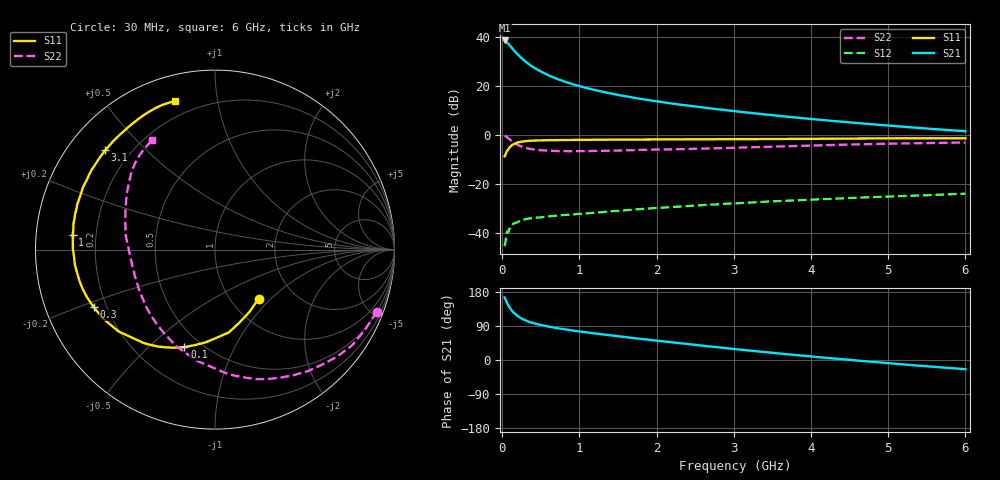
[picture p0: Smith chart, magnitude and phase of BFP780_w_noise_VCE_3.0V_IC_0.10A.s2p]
! Infineon Technologies  Discrete & RF Semiconductors
! BFP780
! VCE =  3.0 V,  IC = 0.10 A
! Common Emitter S-Parameters:  Jul 2015
# GHz  S  MA  R  50
!  f  S11  S21  S12  S22
! GHz  MAG  ANG  MAG  ANG  MAG  ANG  MAG  ANG
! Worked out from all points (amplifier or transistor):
!   75 points, 30 MHz to 6 GHz, reference 50 ohm
!   highest |S21| = 38.6 dB at 30 MHz (marker M1)
!   |S21| within 3 dB of that: start of sweep to 122.4 MHz
!   unconditionally stable (mu >= 1): 1.699 GHz to end of sweep
!   at 150 MHz: K = 0.17, MSG = 35.3 dB, |S12| = -36.1 dB
!   at 2.3 GHz: K = 1.12, MAG = 18.7 dB, |S12| = -29.2 dB
!   at 6 GHz: K = 1.26, MAG = 9.7 dB, |S12| = -23.9 dB
!   lowest NFmin = 2.08 dB at 450 MHz
!   S11 on the Smith chart (normalised r, x): 30 MHz: 1.33, -0.84; 100 MHz: 0.41, -0.65; 300 MHz: 0.15, -0.22; 1 GHz: 0.11, +0.05; 3.1 GHz: 0.11, +0.38; 6 GHz: 0.12, +0.76
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0.03  0.3659 -48.5  84.87 165.2  0.0054 80.5  0.9658 -21.0
0.05  0.4297 -71.7  80.44 155.5  0.0083 68.5  0.9319 -34.8
0.06  0.4678 -80.5  77.84 151.4  0.0107 67.6  0.9055 -41.1
0.08  0.5186 -95.6  72.11 143.5  0.0104 57.1  0.8532 -52.4
0.1  0.5688 -107.4  66.22 137.0  0.0126 50.2  0.8023 -62.7
0.12  0.61 -116.8  60.7 131.3  0.0142 46.8  0.7582 -72.1
0.14  0.6417 -124.3  55.67 126.5  0.0155 44.1  0.715 -80.2
0.2  0.7048 -139.7  43.8 115.8  0.0167 37.1  0.6272 -99.4
0.25  0.7317 -148.2  36.81 109.4  0.0184 32.7  0.5814 -111.4
0.3  0.748 -154.6  31.46 104.6  0.0192 28.9  0.5472 -120.9
0.4  0.7689 -163.2  24.25 97.5  0.0202 28.4  0.5104 -134.8
0.5  0.7775 -169.2  19.65 92.3  0.0209 26.2  0.4894 -144.4
0.6  0.7852 -173.7  16.47 88.1  0.0219 25.9  0.4795 -151.7
0.8  0.7921 179.5  12.41 81.2  0.0233 26.8  0.47 -162.0
1  0.7975 174.1  9.929 75.3  0.0246 27.5  0.4698 -169.1
1.1  0.7972 171.8  9.005 72.7  0.0252 28.2  0.4701 -172.2
1.5  0.8042 163.9  6.572 62.8  0.0283 29.7  0.4823 178.8
2.1  0.8134 153.5  4.609 48.8  0.0331 30.0  0.5069 169.0
3.1  0.8245 137.9  2.955 27.0  0.041 28.2  0.5547 153.7
4.1  0.8378 124.1  2.056 7.5  0.0488 24.1  0.6145 140.8
5.1  0.8554 113.0  1.515 -10.0  0.0561 18.9  0.6686 129.7
6  0.8574 105.0  1.193 -24.3  0.0635 13.3  0.7039 119.7
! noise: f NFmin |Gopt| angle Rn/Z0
0.45  2.08  0.55  -177  0.08
0.9  2.13  0.57  -165  0.09
1.5  2.18  0.58  -158  0.11
1.8  2.37  0.58  -154  0.13
2.4  2.5  0.61  -143  0.2
3  2.79  0.65  -132  0.28
3.5  3.26  0.67  -121  0.43
